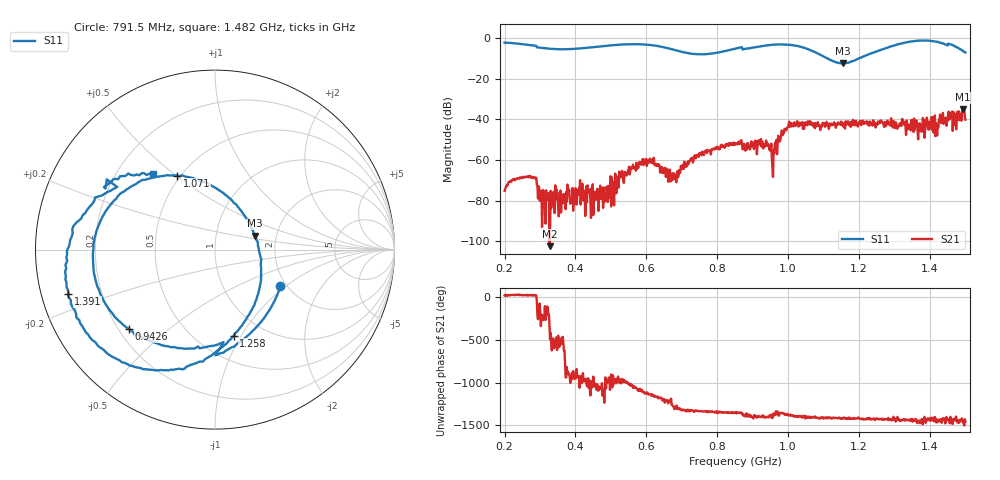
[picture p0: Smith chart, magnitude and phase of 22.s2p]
! NanoVNA-App
! Date: 2024-06-25 16:53:41
! Start: 200MHz Stop: 1.5GHz Points: 801
! S-Parameter data: F S11 S21 S12 S22
# Hz S RI R 50
!  Frequency  S11_Real  S11_Imag  S21_Real  S21_Imag  S12_Real  S12_Imag  S22_Real  S22_Imag
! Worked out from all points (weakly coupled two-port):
!   801 points, 200 MHz to 1.5 GHz, reference 50 ohm
!   highest |S21| = -35.03 dB at 1.492 GHz (marker M1); lowest = -102.3 dB at 326.8 MHz (marker M2)
!   lowest |S11| = -12.6 dB at 1.155 GHz (marker M3), VSWR 1.61, Z = 77.1 + j12.7 ohm
!   |S11| at or under -10 dB: 1.109 GHz to 1.201 GHz (92.22 MHz wide, 7.98 % of centre)
!   S12 and S22 are empty: the file has one direction only
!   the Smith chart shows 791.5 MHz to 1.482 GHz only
!   S11 on the Smith chart (normalised r, x): 791.5 MHz: 1.85, -0.92; 942.6 MHz: 0.24, -0.37; 1.071 GHz: 0.48, +0.50; 1.258 GHz: 0.73, -0.93; 1.391 GHz: 0.08, -0.15; 1.482 GHz: 0.35, +0.42
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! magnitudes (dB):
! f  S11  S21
! 200 MHz  -2.4  -75.2
! 278 MHz  -3.7  -68.6
! 326.8 MHz  -5.4  -102.3
! 417.8 MHz  -5.1  -75.1
! 484.4 MHz  -4.0  -77.3
! 583.5 MHz  -3.2  -61.1
! 633.9 MHz  -4.1  -62.7
! 677.8 MHz  -5.9  -66.7
! 791.5 MHz  -7.6  -54.7
! 850 MHz  -5.4  -51.9
! 942.6 MHz  -3.7  -52.0
! 954 MHz  -3.4  -59.1
! 996.2 MHz  -3.4  -44.5
! 1.068 GHz  -6.4  -42.8
! 1.071 GHz  -6.7  -42.4
! 1.155 GHz  -12.6  -43.6
! 1.258 GHz  -6.2  -41.2
! 1.284 GHz  -4.6  -42.6
! 1.391 GHz  -1.4  -39.2
! 1.482 GHz  -5.3  -36.1
! 1.492 GHz  -6.3  -35.0
! 1.5 GHz  -7.2  -40.2
